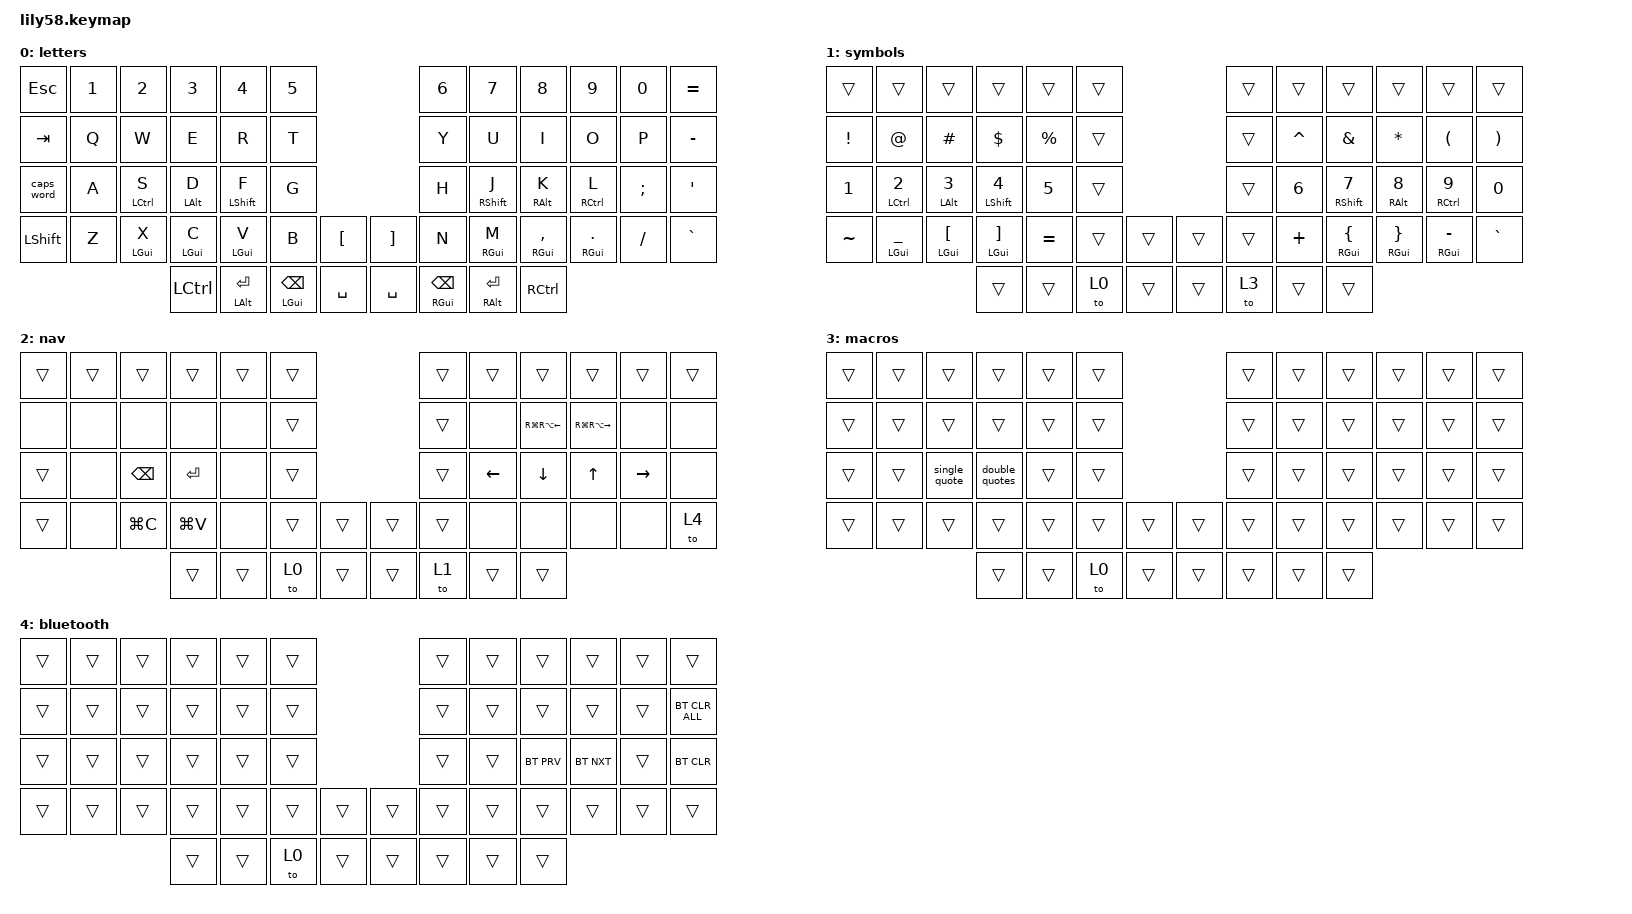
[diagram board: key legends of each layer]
/*
 * Copyright (c) 2020 The ZMK Contributors
 *
 * SPDX-License-Identifier: MIT
 */

#include <behaviors.dtsi>
#include <dt-bindings/zmk/bt.h>
#include <dt-bindings/zmk/keys.h>

/ {
    behaviors {
        hm: hm {
            compatible = "zmk,behavior-hold-tap";
            label = "HM";
            bindings = <&kp>, <&kp>;

            #binding-cells = <2>;
            flavor = "tap-preferred";
            tapping-term-ms = <200>;
        };

        caps_word_hold: caps_word_hold {
            compatible = "zmk,behavior-hold-tap";
            label = "CAPS_WORD_HOLD";
            bindings = <&kp>, <&caps_word>;

            #binding-cells = <2>;
            tapping-term-ms = <200>;
        };
    };

    macros {
        single_quote: new_macro {
            compatible = "zmk,behavior-macro";
            #binding-cells = <0>;
            bindings = <&kp SINGLE_QUOTE &kp SPACE>;
            label = "NEW_MACRO";
        };

        double_quotes: double_quotes {
            compatible = "zmk,behavior-macro";
            #binding-cells = <0>;
            bindings = <&kp DOUBLE_QUOTES &kp SPACE>;
            label = "DOUBLE_QUOTES";
        };
    };

    combos {
        compatible = "zmk,combos";

        jk_esc {
            bindings = <&kp ESCAPE>;
            key-positions = <32 33>;
            layers = <0 1>;
        };

        dt_dab {
            bindings = <&kp TAB>;
            key-positions = <27 26>;
            layers = <0 1>;
        };

        enter {
            bindings = <&kp ENTER>;
            key-positions = <33 34>;
            layers = <0 1>;
        };

        backspace {
            bindings = <&kp BACKSPACE>;
            key-positions = <21 22>;
            layers = <0 1>;
        };
    };

    keymap {
        compatible = "zmk,keymap";

        letters {
            // ------------------------------------------------------------------------------------------------------------
            // |  ESC  |  1  |  2  |  3   |  4   |  5   |                   |  6   |  7    |  8    |  9   |   0   |   `   |
            // |  TAB  |  Q  |  W  |  E   |  R   |  T   |                   |  Y   |  U    |  I    |  O   |   P   |   -   |
            // |  CTRL |  A  |  S  |  D   |  F   |  G   |                   |  H   |  J    |  K    |  L   |   ;   |   '   |
            // | SHIFT |  Z  |  X  |  C   |  V   |  B   |   "["  |  |  "]"  |  N   |  M    |  ,    |  .   |   /   | SHIFT |
            //                     | ALT  | GUI  | LOWER|  SPACE |  | ENTER | RAISE| BSPC  | GUI   |

            bindings = <
&kp ESC     &kp N1  &kp N2          &kp N3          &kp N4              &kp N5                                          &kp N6                   &kp N7               &kp N8               &kp N9             &kp N0    &kp EQUAL
&kp TAB     &kp Q   &kp W           &kp E           &kp R               &kp T                                           &kp Y                    &kp U                &kp I                &kp O              &kp P     &kp MINUS
&caps_word  &kp A   &hm LCTRL S     &hm LEFT_ALT D  &hm LEFT_SHIFT F    &kp G                                           &kp H                    &hm RIGHT_SHIFT J    &hm RIGHT_ALT K      &hm RCTRL L        &kp SEMI  &kp SQT
&kp LSHFT   &kp Z   &hm LEFT_GUI X  &hm LEFT_GUI C  &hm LEFT_GUI V      &kp B                   &kp LBKT     &kp RBKT   &kp N                    &hm RIGHT_GUI M      &hm RIGHT_GUI COMMA  &hm RIGHT_GUI DOT  &kp FSLH  &kp GRAVE
                                    &kp LCTRL       &hm LEFT_ALT ENTER  &hm LEFT_GUI BACKSPACE  &kp SPACE    &kp SPACE  &hm RIGHT_GUI BACKSPACE  &hm RIGHT_ALT ENTER  &kp RCTRL
            >;
        };

        symbols {
            // ------------------------------------------------------------------------------------------------------------
            // | BTCLR | BT1 | BT2 |  BT3 |  BT4 |  BT5 |                   |      |       |       |      |       |       |
            // |  F1   |  F2 |  F3 |  F4  |  F5  |  F6  |                   |  F7  |  F8   |  F9   |  F10 |  F11  |  F12  |
            // |   `   |  !  |  @  |  #   |  $   |  %   |                   |  ^   |  &    |  *    |  (   |   )   |   ~   |
            // |       |     |     |      |      |      |        |  |       |      |  _    |  +    |  {   |   }   |  "|"  |
            //                     |      |      |      |        |  |       |      |       |       |

            bindings = <
&trans        &trans                     &trans                     &trans                      &trans        &trans                    &trans  &trans        &trans                    &trans                     &trans                &trans
&kp EXCL      &kp AT_SIGN                &kp HASH                   &kp DOLLAR                  &kp PERCENT   &trans                    &trans  &kp CARET     &kp AMPERSAND             &kp ASTRK                  &kp LEFT_PARENTHESIS  &kp RIGHT_PARENTHESIS
&kp NUMBER_1  &hm LEFT_CONTROL NUMBER_2  &hm LEFT_ALT NUMBER_3      &hm LEFT_SHIFT NUMBER_4     &kp NUMBER_5  &trans                    &trans  &kp NUMBER_6  &hm RSHIFT NUMBER_7       &hm RIGHT_ALT NUMBER_8     &hm RCTRL NUMBER_9    &kp NUMBER_0
&kp TILDE     &hm LEFT_GUI UNDER         &hm LEFT_GUI LEFT_BRACKET  &hm LEFT_GUI RIGHT_BRACKET  &kp EQUAL     &trans  &trans    &trans  &trans  &kp PLUS      &hm RIGHT_GUI LEFT_BRACE  &hm RIGHT_GUI RIGHT_BRACE  &hm RIGHT_GUI MINUS   &kp GRAVE
                                                                    &trans                      &trans        &to 0   &trans    &trans  &to 3   &trans        &trans
            >;
        };

        nav {
            bindings = <
&trans  &trans  &trans         &trans     &trans  &trans                    &trans  &trans    &trans                  &trans             &trans     &trans
&none   &none   &none          &none      &none   &trans                    &trans  &none     &kp RG(RA(LEFT_ARROW))  &kp RG(RA(RIGHT))  &none      &none
&trans  &none   &kp BACKSPACE  &kp ENTER  &none   &trans                    &trans  &kp LEFT  &kp DOWN_ARROW          &kp UP_ARROW       &kp RIGHT  &none
&trans  &none   &kp LG(C)      &kp LG(V)  &none   &trans  &trans    &trans  &trans  &none     &none                   &none              &none      &to 4
                               &trans     &trans  &to 0   &trans    &trans  &to 1   &trans    &trans
            >;
        };

        macros {
            bindings = <
&trans  &trans  &trans         &trans          &trans  &trans                    &trans  &trans  &trans  &trans  &trans  &trans
&trans  &trans  &trans         &trans          &trans  &trans                    &trans  &trans  &trans  &trans  &trans  &trans
&trans  &trans  &single_quote  &double_quotes  &trans  &trans                    &trans  &trans  &trans  &trans  &trans  &trans
&trans  &trans  &trans         &trans          &trans  &trans  &trans    &trans  &trans  &trans  &trans  &trans  &trans  &trans
                               &trans          &trans  &to 0   &trans    &trans  &trans  &trans  &trans
            >;
        };

        bluetooth {
            bindings = <
&trans  &trans  &trans  &trans  &trans  &trans                    &trans  &trans  &trans      &trans      &trans  &trans
&trans  &trans  &trans  &trans  &trans  &trans                    &trans  &trans  &trans      &trans      &trans  &bt BT_CLR_ALL
&trans  &trans  &trans  &trans  &trans  &trans                    &trans  &trans  &bt BT_PRV  &bt BT_NXT  &trans  &bt BT_CLR
&trans  &trans  &trans  &trans  &trans  &trans  &trans    &trans  &trans  &trans  &trans      &trans      &trans  &trans
                        &trans  &trans  &to 0   &trans    &trans  &trans  &trans  &trans
            >;
        };
    };
};
